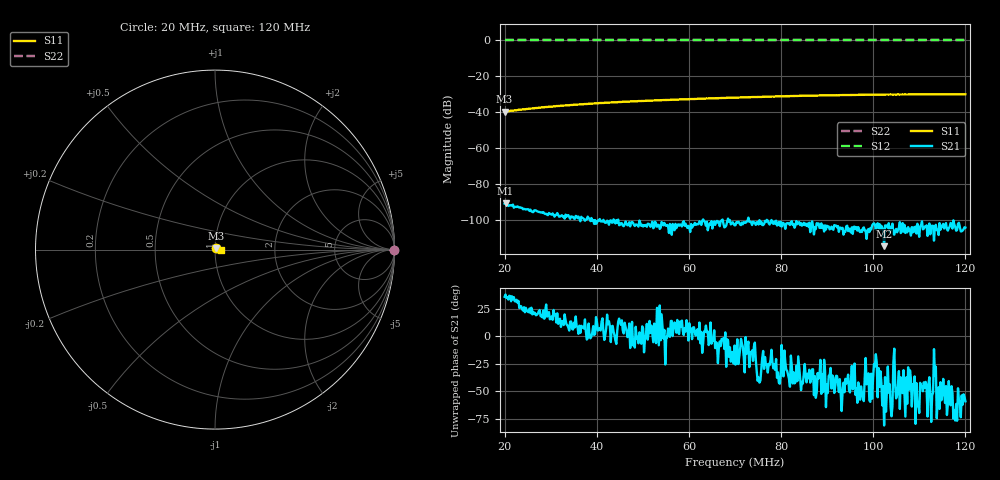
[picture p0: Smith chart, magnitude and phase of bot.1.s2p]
! Anritsu VNA Master:  Model: MS2036C/10/77
! SN:  1601066
! /bd0/18may08.cable.cal/bot.1_1.s2p
! Existing Calibration Information:
! TYPE:  Current Settings,  Active Cal Settings
! TIME:  05/08/2018 03:35:07 PM,  05/08/2018 03:25:16 PM
! INTERNAL TEMP:  52.0 C,  53.3 C
! # POINTS:  500,  500
! START FREQ:  20.000 MHz,  20.000 MHz
! STOP FREQ:  120.000 MHz,  120.000 MHz
! SOURCE POWER:  High,  High
! IFBW:  50 Hz,  50 Hz
! AVG FACTOR:  1 ,  1
! REF PLANE 1:  0 mm,  0 mm
! REF PLANE 2:  0 mm,  0 mm
! CAL TYPE:  Full S11,  Full S11
! CAL METHOD:  SOLT,  SOLT
! CAL LINE TYPE:  Coax,  Coax
! DUT PORT 1:  K-Conn(F),  K-Conn(F)
! DUT PORT 2:  K-Conn(F),  K-Conn(F)
! CAL STATUS:  OK: Accuracy High,  --
# GHZ S DB R 50.0
! FREQ.GHZ  S11DB  S11A  S21DB  S21A  S12DB  S12A  S22DB  S22A
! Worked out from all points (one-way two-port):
!   500 points, 20 MHz to 120 MHz, reference 50 ohm
!   highest |S21| = -90.79 dB at 20.2 MHz (marker M1); lowest = -114.6 dB at 102.4 MHz (marker M2)
!   lowest |S11| = -39.7 dB at 20 MHz (marker M3), VSWR 1.02, Z = 50.6 + j0.867 ohm
!   |S11| at or under -10 dB: start of sweep to end of sweep
!   |S22| runs from 0.0 to 0.0 dB; largest |S21 - S12| = 1
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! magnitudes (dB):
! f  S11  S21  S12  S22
! 20 MHz  -39.7  -90.9  0.0  0.0
! 20.2 MHz  -39.6  -90.8  0.0  0.0
! 22.4 MHz  -39.0  -92.7  0.0  0.0
! 23.81 MHz  -38.5  -93.3  0.0  0.0
! 29.02 MHz  -37.1  -96.6  0.0  0.0
! 32.42 MHz  -36.4  -97.4  0.0  0.0
! 36.83 MHz  -35.6  -98.9  0.0  0.0
! 40.84 MHz  -34.8  -100.8  0.0  0.0
! 45.85 MHz  -34.2  -103.5  0.0  0.0
! 53.47 MHz  -33.3  -102.8  0.0  0.0
! 63.69 MHz  -32.3  -103.2  0.0  0.0
! 70.1 MHz  -31.8  -102.9  0.0  0.0
! 74.71 MHz  -31.5  -101.3  0.0  0.0
! 79.32 MHz  -31.2  -102.5  0.0  0.0
! 86.73 MHz  -30.7  -100.8  0.0  0.0
! 88.94 MHz  -30.6  -104.5  0.0  0.0
! 96.15 MHz  -30.3  -105.1  0.0  0.0
! 102.4 MHz  -30.2  -114.6  0.0  0.0
! 103.4 MHz  -30.1  -101.8  0.0  0.0
! 104.8 MHz  -30.1  -105.8  0.0  0.0
! 115.2 MHz  -30.0  -102.2  0.0  0.0
! 120 MHz  -30.0  -104.3  0.0  0.0
